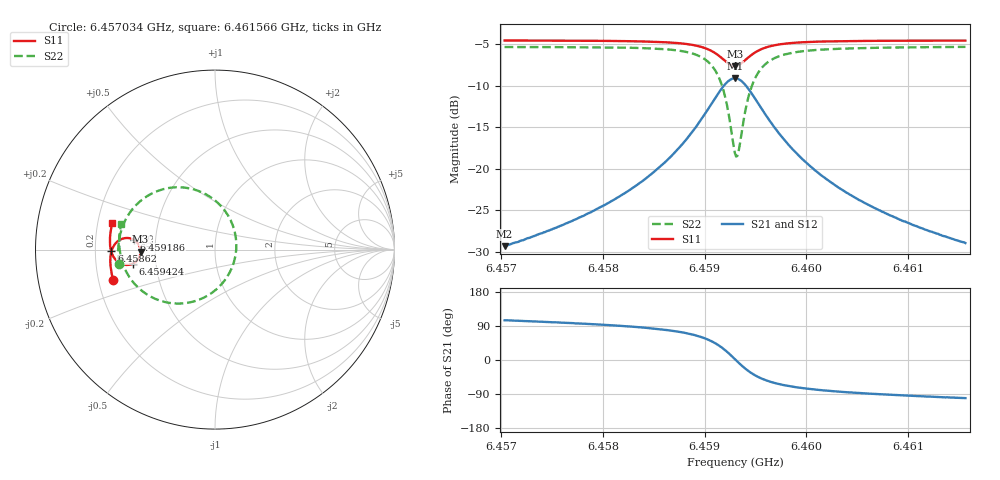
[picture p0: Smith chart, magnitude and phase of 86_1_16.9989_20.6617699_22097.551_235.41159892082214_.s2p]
#  HZ  S  RI  R  50.00
! Rohde & Schwarz Vector Network Analyzer
! Rohde-Schwarz,ZNB20-2Port,1311601062101988,3.16
! Created: UTC 3/20/2024, 10:55:55 PM
! freq[Hz]  re:S11  im:S11  re:S21  im:S21  re:S12  im:S12  re:S22  im:S22
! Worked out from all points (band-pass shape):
!   401 points, 6.457034 GHz to 6.461566 GHz, reference 50 ohm
!   highest |S21| = -9.11 dB at 6.4593 GHz (marker M1); lowest = -29.4 dB at 6.457034 GHz (marker M2)
!   |S21| within 3 dB of the highest: 6.459072 GHz to 6.459526 GHz (453.3 kHz wide, 0.00702 % of centre)
!   lowest |S11| = -7.6 dB at 6.4593 GHz (marker M3), VSWR 2.42, Z = 20.7 - j0.536 ohm
!   |S11| at or under -10 dB: nowhere
!   |S22| runs from -18.6 to -5.3 dB; largest |S21 - S12| = 0.014
!   S11 on the Smith chart (normalised r, x): 6.457034 GHz: 0.26, -0.14; 6.45862 GHz: 0.27, -0.01; 6.459186 GHz: 0.38, +0.05; 6.459424 GHz: 0.37, -0.07; 6.461566 GHz: 0.26, +0.12
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6.4570337e9  -0.5673 -0.1692  -0.00872 0.0329  -0.00696 0.0329  -0.5344 -0.0788
6.4577928e9  -0.5808 -0.1025  -0.00541 0.0512  -0.00276 0.0505  -0.5388 0.0108
6.4582347e9  -0.5834 -0.0577  0.00134 0.0723  0.00466 0.0709  -0.529 0.0824
6.4585519e9  -0.5793 -0.0191  0.0149 0.1002  0.0189 0.0973  -0.5035 0.1559
6.4586199e9  -0.577 -0.00962  0.0204 0.1086  0.0244 0.1054  -0.4933 0.176
6.4588125e9  -0.5642 0.0208  0.0474 0.14  0.0516 0.1349  -0.4423 0.2455
6.4589597e9  -0.5411 0.0472  0.0935 0.1706  0.0968 0.1639  -0.3573 0.3097
6.4590957e9  -0.4965 0.0646  0.1823 0.1869  0.1831 0.1796  -0.1956 0.3471
6.4591863e9  -0.4511 0.0538  0.2732 0.1545  0.2735 0.1487  -0.0275 0.2943
6.4592543e9  -0.4219 0.021  0.334 0.0812  0.3363 0.0758  0.0881 0.1617
6.4592996e9  -0.415 -0.0107  0.35 0.0122  0.3538 0.00508  0.1188 0.0328
6.459311e9  -0.4154 -0.019  0.3496 -0.00584  0.3536 -0.0136  0.1181 -0.00145
6.4593336e9  -0.4191 -0.0348  0.3438 -0.0408  0.3477 -0.0502  0.1059 -0.0678
6.4593789e9  -0.4351 -0.0613  0.3143 -0.1011  0.3165 -0.1133  0.0464 -0.1812
6.4594243e9  -0.4575 -0.0778  0.2714 -0.1424  0.2707 -0.1558  -0.0403 -0.2559
6.4595149e9  -0.5014 -0.0848  0.1855 -0.1733  0.1795 -0.1849  -0.211 -0.3006
6.4596622e9  -0.5457 -0.0643  0.097 -0.1589  0.0884 -0.1651  -0.3795 -0.2496
6.4598321e9  -0.5687 -0.0347  0.0495 -0.1286  0.0419 -0.1312  -0.4638 -0.1718
6.4600587e9  -0.5806 -0.00115  0.0224 -0.0985  0.0165 -0.099  -0.508 -0.0935
6.4603873e9  -0.5853 0.0385  0.0066 -0.072  0.00252 -0.0715  -0.5291 -0.0163
6.4608178e9  -0.5836 0.082  -0.0014 -0.0525  -0.00431 -0.0516  -0.5335 0.054
6.4615655e9  -0.5719 0.1486  -0.00652 -0.035  -0.0082 -0.034  -0.5222 0.1431
